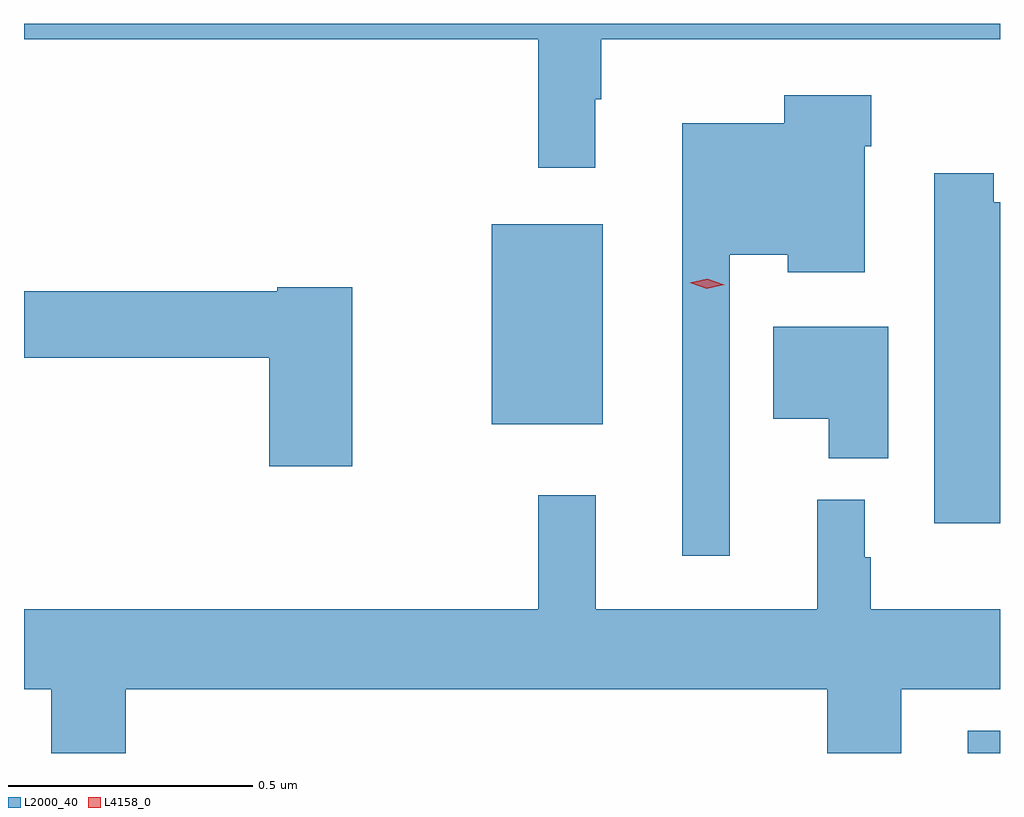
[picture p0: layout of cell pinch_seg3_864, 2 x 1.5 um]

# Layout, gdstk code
import gdstk
lib = gdstk.Library(unit=1e-6, precision=1e-09)
def R(c, l, rs):  # rectangles x0, y0, x1, y1
    for r in rs: c.add(gdstk.rectangle(r[:2], r[2:], *l))
def P(c, l, *ps):  # polygons
    for p in ps: c.add(gdstk.Polygon(p, *l))
L2000_40 = (2000, 40)
L4158_0 = (4158, 0)

pinch_seg3_864 = lib.new_cell('pinch_seg3_864')
R(pinch_seg3_864, L2000_40, [(762.389,747.405,762.455,747.451), (761.414,748.079,761.641,748.489)])
P(pinch_seg3_864, L2000_40, [(761.626,748.745),(761.638,748.745),(761.638,748.868),(762.455,748.868),(762.455,748.9),(760.455,748.9),(760.455,748.868),(761.509,748.868),(761.509,748.605),(761.626,748.605)],
  [(761.901,748.427),(762.02,748.427),(762.02,748.391),(762.178,748.391),(762.178,748.649),(762.191,748.649),(762.191,748.753),(762.013,748.753),(762.013,748.696),(761.804,748.696),(761.804,747.81),(761.901,747.81)],
  [(762.455,748.534),(762.442,748.534),(762.442,748.594),(762.32,748.594),(762.32,747.876),(762.455,747.876)],
  [(761.128,748.36),(760.974,748.36),(760.974,748.352),(760.455,748.352),(760.455,748.216),(760.958,748.216),(760.958,747.993),(761.128,747.993)],
  [(762.226,748.279),(761.99,748.279),(761.99,748.091),(762.104,748.091),(762.104,748.01),(762.226,748.01)],
  [(760.664,747.536),(762.101,747.536),(762.101,747.405),(762.253,747.405),(762.253,747.536),(762.455,747.536),(762.455,747.7),(762.19,747.7),(762.19,747.807),(762.178,747.807),(762.178,747.925),(762.08,747.925),(762.08,747.7),(761.627,747.7),(761.627,747.934),(761.509,747.934),(761.509,747.7),(760.455,747.7),(760.455,747.536),(760.511,747.536),(760.511,747.405),(760.664,747.405)])
P(pinch_seg3_864, L4158_0, [(761.854,748.357),(761.819,748.369),(761.819,748.369),(761.819,748.369),(761.855,748.377),(761.89,748.365),(761.891,748.365),(761.89,748.365)])

lib.write_gds('pinch_seg3_864.gds')
